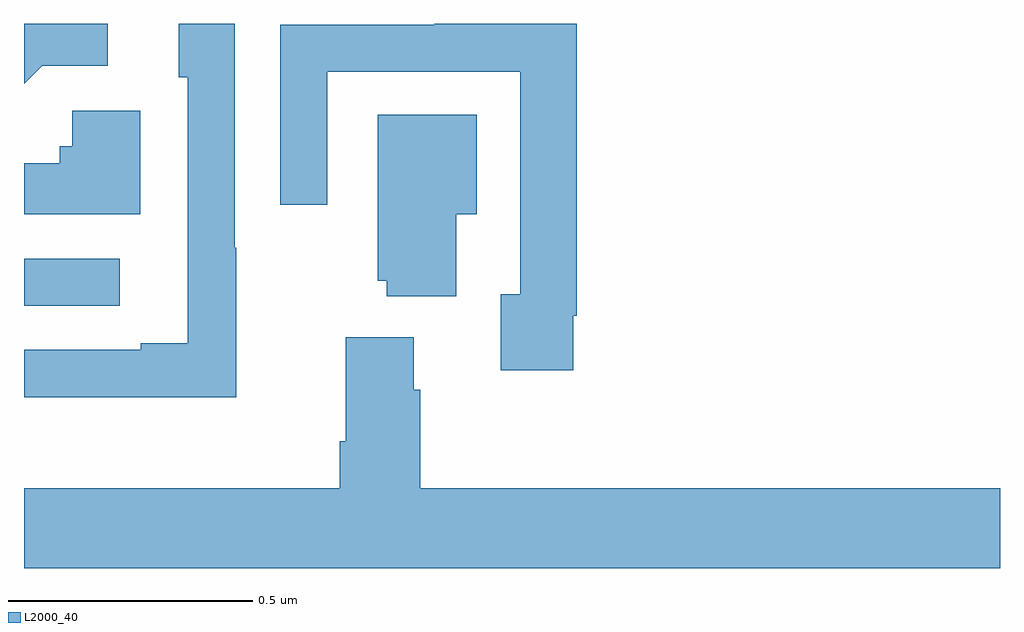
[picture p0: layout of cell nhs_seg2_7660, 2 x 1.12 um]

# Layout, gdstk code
import gdstk
lib = gdstk.Library(unit=1e-6, precision=1e-09)
def R(c, l, rs):  # rectangles x0, y0, x1, y1
    for r in rs: c.add(gdstk.rectangle(r[:2], r[2:], *l))
def P(c, l, *ps):  # polygons
    for p in ps: c.add(gdstk.Polygon(p, *l))
L2000_40 = (2000, 40)

nhs_seg2_7660 = lib.new_cell('nhs_seg2_7660')
R(nhs_seg2_7660, L2000_40, [(207,600.222,207.196,600.318)])
P(nhs_seg2_7660, L2000_40, [(207.037,600.714),(207.172,600.714),(207.172,600.8),(207,600.8),(207,600.677)],
  [(208.126,600.202),(208.133,600.202),(208.133,600.8),(207.841,600.8),(207.841,600.798),(207.525,600.798),(207.525,600.429),(207.621,600.429),(207.621,600.702),(208.017,600.702),(208.017,600.246),(207.977,600.246),(207.977,600.09),(208.126,600.09)],
  [(207.435,600.341),(207.432,600.341),(207.432,600.8),(207.317,600.8),(207.317,600.69),(207.336,600.69),(207.336,600.145),(207.239,600.145),(207.239,600.132),(207,600.132),(207,600.035),(207.435,600.035)],
  [(207.238,600.622),(207.099,600.622),(207.099,600.549),(207.073,600.549),(207.073,600.514),(207,600.514),(207,600.41),(207.238,600.41)],
  [(207.886,600.41),(207.928,600.41),(207.928,600.613),(207.725,600.613),(207.725,600.273),(207.743,600.273),(207.743,600.242),(207.886,600.242)],
  [(209,599.848),(207.812,599.848),(207.812,600.05),(207.799,600.05),(207.799,600.157),(207.659,600.157),(207.659,599.944),(207.647,599.944),(207.647,599.848),(207,599.848),(207,599.684),(209,599.684)])

lib.write_gds('nhs_seg2_7660.gds')
